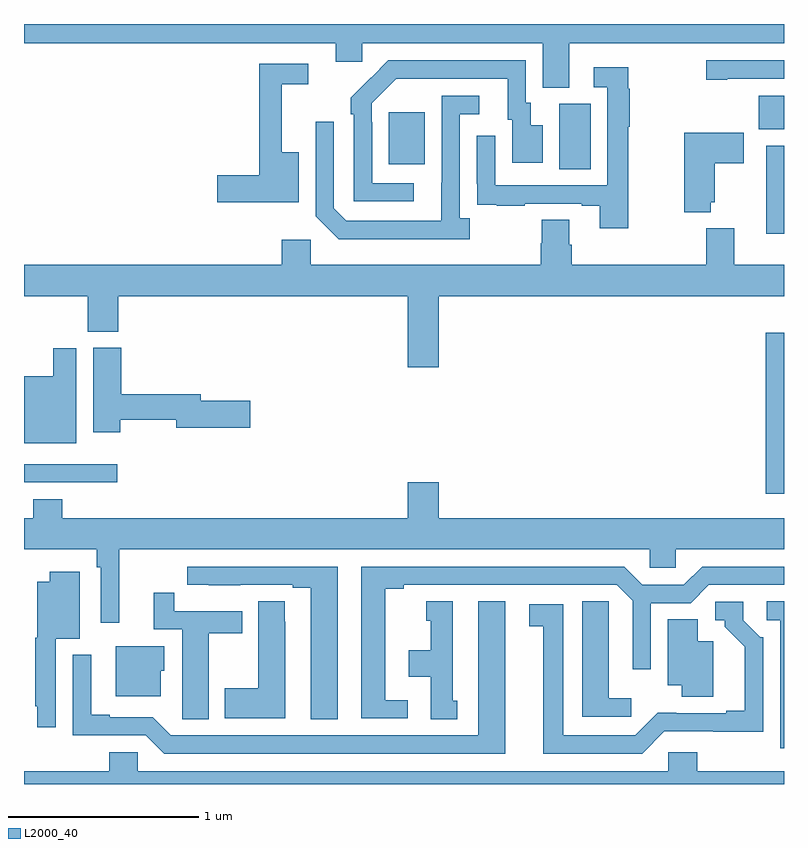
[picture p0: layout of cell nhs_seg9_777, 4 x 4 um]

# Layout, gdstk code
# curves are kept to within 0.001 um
import gdstk
lib = gdstk.Library(unit=1e-6, precision=1e-09)
def R(c, l, rs):  # rectangles x0, y0, x1, y1
    for r in rs: c.add(gdstk.rectangle(r[:2], r[2:], *l))
def P(c, l, *ps):  # polygons
    for p in ps: c.add(gdstk.Polygon(p, *l))
L2000_40 = (2000, 40)

nhs_seg9_777 = lib.new_cell('nhs_seg9_777')
R(nhs_seg9_777, L2000_40, [(154.903,1214.028,155,1214.875), (151,1214.088,151.492,1214.184), (154.907,1215.396,155,1215.859), (153.818,1215.736,153.982,1216.08), (152.921,1215.761,153.109,1216.036), (154.868,1215.947,155,1216.123)])
P(nhs_seg9_777, L2000_40, [(153.871,1216.4),(155,1216.4),(155,1216.5),(151,1216.5),(151,1216.4),(152.642,1216.4),(152.642,1216.302),(152.781,1216.302),(152.781,1216.4),(153.731,1216.4),(153.731,1216.165),(153.871,1216.165)],
  [(154.702,1216.212),(155,1216.212),(155,1216.308),(154.59,1216.308),(154.59,1216.207),(154.702,1216.207)],
  [(153.052,1215.663),(152.832,1215.663),(152.832,1215.983),(152.829,1215.983),(152.829,1216.083),(152.958,1216.212),(153.545,1216.212),(153.545,1215.996),(153.569,1215.996),(153.569,1215.771),(153.73,1215.771),(153.73,1215.967),(153.667,1215.967),(153.667,1216.086),(153.642,1216.086),(153.642,1216.308),(152.918,1216.308),(152.721,1216.113),(152.721,1216.025),(152.736,1216.025),(152.736,1215.567),(153.052,1215.567)],
  [(152.446,1215.826),(152.357,1215.826),(152.357,1216.182),(152.497,1216.182),(152.497,1216.29),(152.239,1216.29),(152.239,1215.704),(152.016,1215.704),(152.016,1215.562),(152.446,1215.562)],
  [(154.18,1215.96),(154.187,1215.96),(154.187,1216.16),(154.18,1216.16),(154.18,1216.273),(153.999,1216.273),(153.999,1216.167),(154.071,1216.167),(154.071,1215.651),(153.48,1215.651),(153.48,1215.913),(153.384,1215.913),(153.384,1215.658),(153.385,1215.658),(153.385,1215.549),(153.487,1215.549),(153.487,1215.543),(153.635,1215.543),(153.635,1215.555),(153.935,1215.555),(153.935,1215.543),(154.031,1215.543),(154.031,1215.426),(154.18,1215.426)],
  [(153.346,1215.478),(153.294,1215.478),(153.294,1216.026),(153.397,1216.026),(153.397,1216.122),(153.198,1216.122),(153.197,1215.465),(152.697,1215.465),(152.631,1215.531),(152.631,1215.985),(152.535,1215.985),(152.535,1215.489),(152.656,1215.368),(153.346,1215.368)],
  [(154.614,1215.563),(154.636,1215.563),(154.636,1215.766),(154.789,1215.766),(154.789,1215.928),(154.474,1215.928),(154.474,1215.509),(154.614,1215.509)],
  [(153.184,1215.068),(155,1215.068),(155,1215.232),(154.738,1215.232),(154.738,1215.424),(154.591,1215.424),(154.591,1215.232),(153.884,1215.232),(153.884,1215.338),(153.871,1215.338),(153.871,1215.47),(153.724,1215.47),(153.724,1215.345),(153.719,1215.345),(153.719,1215.232),(152.508,1215.232),(152.508,1215.364),(152.357,1215.364),(152.357,1215.232),(151,1215.232),(151,1215.068),(151.336,1215.068),(151.336,1214.881),(151.496,1214.881),(151.496,1215.068),(153.02,1215.068),(153.02,1214.694),(153.184,1214.694)],
  [(151.506,1214.416),(151.802,1214.416),(151.802,1214.374),(152.191,1214.374),(152.191,1214.516),(151.93,1214.516),(151.93,1214.552),(151.511,1214.552),(151.511,1214.796),(151.364,1214.796),(151.364,1214.352),(151.506,1214.352)],
  [(151.276,1214.794),(151.154,1214.794),(151.154,1214.647),(151,1214.647),(151,1214.294),(151.276,1214.294)],
  [(151.202,1213.999),(151.049,1213.999),(151.049,1213.9),(151,1213.9),(151,1213.736),(151.384,1213.736),(151.384,1213.64),(151.404,1213.64),(151.404,1213.35),(151.502,1213.35),(151.502,1213.736),(154.293,1213.736),(154.293,1213.638),(154.431,1213.638),(154.431,1213.736),(155,1213.736),(155,1213.9),(153.184,1213.9),(153.184,1214.089),(153.02,1214.089),(153.02,1213.9),(151.202,1213.9)],
  [(153.019,1212.942),(152.902,1212.942),(152.902,1213.528),(152.998,1213.528),(152.998,1213.548),(154.119,1213.548),(154.203,1213.464),(154.203,1213.104),(154.299,1213.104),(154.299,1213.452),(154.509,1213.452),(154.605,1213.548),(155,1213.548),(155,1213.644),(154.569,1213.644),(154.473,1213.548),(154.255,1213.548),(154.159,1213.644),(152.774,1213.644),(152.774,1212.846),(153.019,1212.846)],
  [(152.65,1213.644),(151.86,1213.644),(151.86,1213.548),(151.972,1213.548),(151.972,1213.547),(152.138,1213.547),(152.138,1213.548),(152.414,1213.548),(152.414,1213.533),(152.51,1213.533),(152.51,1212.841),(152.65,1212.841)],
  [(151.167,1213.265),(151.294,1213.265),(151.294,1213.618),(151.136,1213.618),(151.136,1213.564),(151.07,1213.564),(151.07,1213.269),(151.059,1213.269),(151.059,1212.91),(151.07,1212.91),(151.07,1212.798),(151.167,1212.798)],
  [(151.972,1213.294),(152.149,1213.294),(152.149,1213.41),(151.79,1213.41),(151.79,1213.507),(151.682,1213.507),(151.682,1213.314),(151.832,1213.314),(151.832,1212.952),(151.833,1212.952),(151.833,1212.841),(151.972,1212.841)],
  [(152.374,1213.355),(152.373,1213.355),(152.373,1213.463),(152.234,1213.463),(152.234,1213.005),(152.057,1213.005),(152.057,1212.845),(152.374,1212.845)],
  [(155,1213.463),(154.908,1213.463),(154.908,1213.362),(154.98,1213.362),(154.98,1212.687),(155,1212.687)],
  [(154.195,1212.952),(154.078,1212.952),(154.078,1213.355),(154.077,1213.355),(154.077,1213.463),(153.938,1213.463),(153.938,1212.855),(154.195,1212.855)],
  [(153.28,1212.939),(153.256,1212.939),(153.256,1213.462),(153.116,1213.462),(153.116,1213.359),(153.14,1213.359),(153.14,1213.204),(153.026,1213.204),(153.026,1213.064),(153.14,1213.064),(153.14,1212.841),(153.28,1212.841)],
  [(153.532,1213.462),(153.392,1213.462),(153.392,1212.756),(151.773,1212.756),(151.677,1212.852),(151.45,1212.852),(151.45,1212.865),(151.354,1212.865),(151.354,1213.18),(151.257,1213.18),(151.257,1212.756),(151.641,1212.756),(151.737,1212.66),(153.532,1212.66)],
  [(154.371,1212.777),(154.89,1212.776),(154.89,1213.272),(154.875,1213.272),(154.785,1213.362),(154.785,1213.458),(154.638,1213.458),(154.638,1213.362),(154.688,1213.362),(154.688,1213.327),(154.793,1213.222),(154.793,1212.886),(154.697,1212.886),(154.697,1212.873),(154.336,1212.874),(154.218,1212.756),(153.838,1212.756),(153.838,1213.446),(153.66,1213.446),(153.66,1213.33),(153.734,1213.33),(153.734,1212.66),(154.254,1212.66)],
  [(154.627,1213.252),(154.546,1213.252),(154.546,1213.367),(154.388,1213.367),(154.388,1213.019),(154.463,1213.019),(154.463,1212.958),(154.627,1212.958)],
  [(151.72,1213.095),(151.738,1213.095),(151.738,1213.225),(151.484,1213.225),(151.484,1212.962),(151.72,1212.962)],
  [(155,1212.568),(154.544,1212.568),(154.544,1212.666),(154.392,1212.666),(154.392,1212.568),(151.599,1212.568),(151.599,1212.666),(151.448,1212.666),(151.448,1212.568),(151,1212.568),(151,1212.5),(155,1212.5)])

lib.write_gds('nhs_seg9_777.gds')
